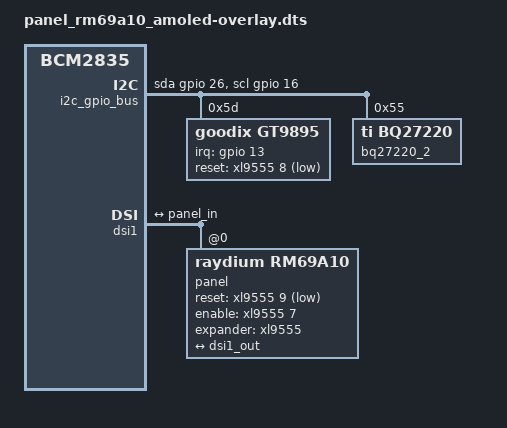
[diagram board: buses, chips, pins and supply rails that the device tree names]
/dts-v1/;
/plugin/;
#include <dt-bindings/gpio/gpio.h>
#include <dt-bindings/interrupt-controller/irq.h>
#include "xl9555.dtsi"
/ {
	compatible = "brcm,bcm2835";
	fragment@1 {
		target = <&dsi1>;
		__overlay__ {
			#address-cells = <1>;
			#size-cells = <0>;
			status = "okay";

			port {
				dsi1_out: endpoint {
					remote-endpoint = <&panel_in>;
				};
			};

			panel@0 {
				compatible = "raydium,rm69a10";
				reg = <0>;
				reset-gpios = <&xl9555 9 GPIO_ACTIVE_LOW>;
				enable-gpios = <&xl9555 7 GPIO_ACTIVE_HIGH>;
				gpio-expander = <&xl9555>;
				power-domains = <&power 0>;
				dsi-lanes = <2>;
				max-bitrate = <50000000>;
				vc4,dsi-force-clock = <1>;
				panel-timing {
					clock-frequency = <20000000>;
					hactive = <568>;
					vactive = <1232>;
					hfront-porch = <40>;
					hback-porch = <140>;
					hsync-len = <10>;
					vfront-porch = <16>;
					vback-porch = <40>;
					vsync-len = <16>;
				};

				port {
					panel_in: endpoint {
						remote-endpoint = <&dsi1_out>;
					};
				};
			};
		};
	};
	
	fragment@2 {
		target-path = "/";
		__overlay__ {
			i2c_gpio_bus:i2c-gpio {
                		compatible = "i2c-gpio";
                		sda-gpios = <&gpio 26 2>;
                		scl-gpios = <&gpio 16 2>;
                		i2c-gpio,delay-us = <40>;
                		i2c-gpio,timeout-ms = <200>;
                		#address-cells = <1>;
                		#size-cells = <0>;
                		status = "okay";
                		gt9895:touch@5d {
                    			compatible = "goodix,gt9895";
                    			reg = <0x5d>;
                    			interrupt-parent = <&gpio>;
                    			interrupts = <13 IRQ_TYPE_EDGE_FALLING>;
                    			irq-gpios = <&gpio 13 (GPIO_ACTIVE_HIGH | GPIO_PULL_UP)>;  
                    			reset-gpios = <&xl9555 8 GPIO_ACTIVE_LOW>;
                    			touchscreen-size-x = <1024>;
                    			touchscreen-size-y = <2400>;
                    			status = "okay";
                			};
            			bq27220_2: bq27220@55 {
                			compatible = "ti,bq27220";
                			reg = <0x55>;
                			status = "okay";
            				};
            			};
			};
		};
};
